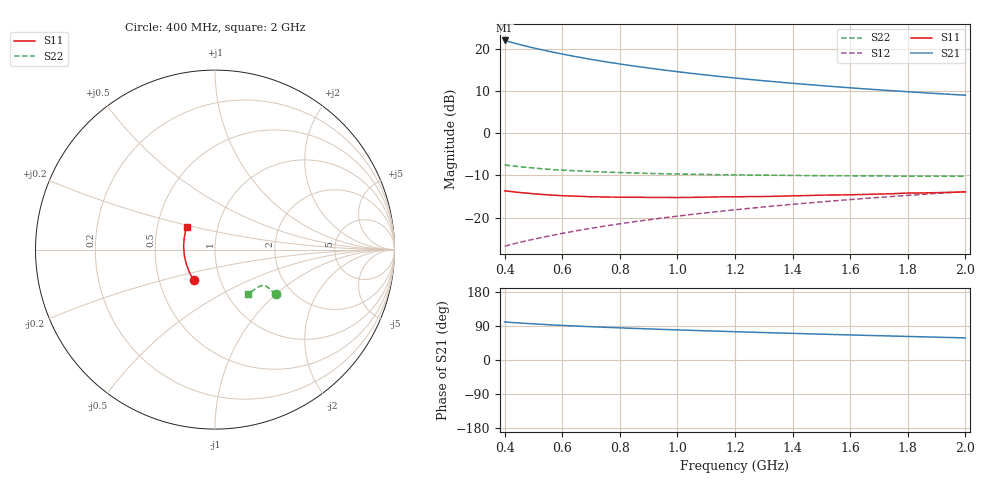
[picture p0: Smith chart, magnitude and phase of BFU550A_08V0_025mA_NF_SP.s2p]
! Filename:  P:\Prog\Test\Noise\ATS_data\Testdata_Net\06 Compressed Noise after Statistics\BFU550A_APG2013_35_C05_08p0V_025mA_NF_CM01_D.sf
! Date/Time: Tue 16/Apr/2013 15:11:31
! BFU550A_APG2013_35_C05_08p0V_1to35mA_NF_CM01_Bias7_R.sf
! Noise Parameter Data File
! BFU550A_APG2013_35_C05_08p0V_1to35mA_NF_CM01
! Date/time: Mon Apr 15 17:49:26 2013
! VAR V_out= 8.000000
! VAR I_out= 25.005000
! VAR V_in= 0.803700
! VAR I_in= 0.257550
! Device data file deembeded for feedlines and parallel
! Original file: \06 Compressed Noise after Statistics\BFU550A_APG2013_35_C05_08p0V_025mA_NF_CM01_R.sf
! Feed-files: PR017V01_150413_Feed1.s2p, PR017V01_150413_Feed2.s2p
! Parallel-file: PR017V01_150413_Par.s2p
# MHz S MA R 50
!  Freq-MHz  S11-mag  S11-arg  S21-mag  S21-arg  S12-mag  S12-arg  S22-mag  S22-arg
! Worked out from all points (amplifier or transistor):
!   37 points, 400 MHz to 2 GHz, reference 50 ohm
!   highest |S21| = 21.9 dB at 400 MHz (marker M1)
!   |S21| within 3 dB of that: start of sweep to 584.6 MHz
!   unconditionally stable (mu >= 1): 977.4 MHz to 1.829 GHz
!   at 500 MHz: K = 0.94, MSG = 22.6 dB, |S12| = -25.1 dB
!   at 1.1 GHz: K = 1.00, MAG = 15.9 dB, |S12| = -18.9 dB
!   at 2 GHz: K = 1.00, MSG = 11.4 dB, |S12| = -13.9 dB
!   lowest NFmin = 1.17 dB at 420 MHz
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400  0.2074 -124.5  12.5 100.5  0.04589 72.7  0.4199 -36.4
420  0.2038 -127.3  11.96 99.3  0.04784 72.9  0.4118 -36.3
440  0.2002 -130.1  11.47 98.3  0.04974 73.0  0.4046 -36.2
480  0.1946 -135.0  10.59 96.3  0.05354 73.3  0.3918 -36.0
500  0.1915 -137.3  10.2 95.4  0.05543 73.4  0.3867 -35.9
550  0.186 -143.1  9.356 93.2  0.06015 73.7  0.3732 -35.6
600  0.1817 -147.8  8.631 91.3  0.06503 73.9  0.3648 -35.6
650  0.1791 -152.6  8.008 89.5  0.0699 74.0  0.3574 -35.7
700  0.1766 -156.8  7.469 87.9  0.07473 74.0  0.3511 -35.7
750  0.1752 -160.8  6.997 86.3  0.07959 74.0  0.3456 -35.8
800  0.1743 -164.4  6.587 84.8  0.08446 74.0  0.3415 -36.1
850  0.1742 -168.1  6.22 83.4  0.08933 73.9  0.3366 -36.4
900  0.1734 -171.6  5.892 82.0  0.09423 73.8  0.3333 -36.7
950  0.1732 -174.6  5.6 80.7  0.09914 73.7  0.3307 -37.2
1050  0.1735 179.6  5.092 78.2  0.109 73.3  0.3261 -38.1
1100  0.1745 176.8  4.874 77.0  0.1139 73.1  0.3241 -38.7
1200  0.1764 171.7  4.491 74.7  0.1238 72.6  0.3205 -39.9
1350  0.1789 164.9  4.023 71.3  0.1386 71.7  0.3172 -42.0
1500  0.1844 158.4  3.648 68.1  0.1535 70.8  0.3133 -44.3
1600  0.1864 154.8  3.438 66.1  0.1634 70.1  0.3124 -46.0
1750  0.1919 149.4  3.169 63.1  0.1782 69.0  0.3102 -48.5
2000  0.2018 141.8  2.808 58.3  0.2029 67.0  0.3082 -53.3
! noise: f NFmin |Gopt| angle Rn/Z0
400  1.203  0.2688  -169  0.0896
460  1.206  0.2711  -165.7  0.0865
600  1.262  0.2552  -159.9  0.1025
800  1.253  0.2844  -156.1  0.0936
1000  1.273  0.2955  -150.8  0.0957
1200  1.32  0.308  -145.2  0.1027
1400  1.328  0.3226  -138.4  0.1125
1600  1.354  0.3437  -134.8  0.1148
1800  1.348  0.3833  -129.8  0.1147
2000  1.364  0.3841  -125.3  0.1308
